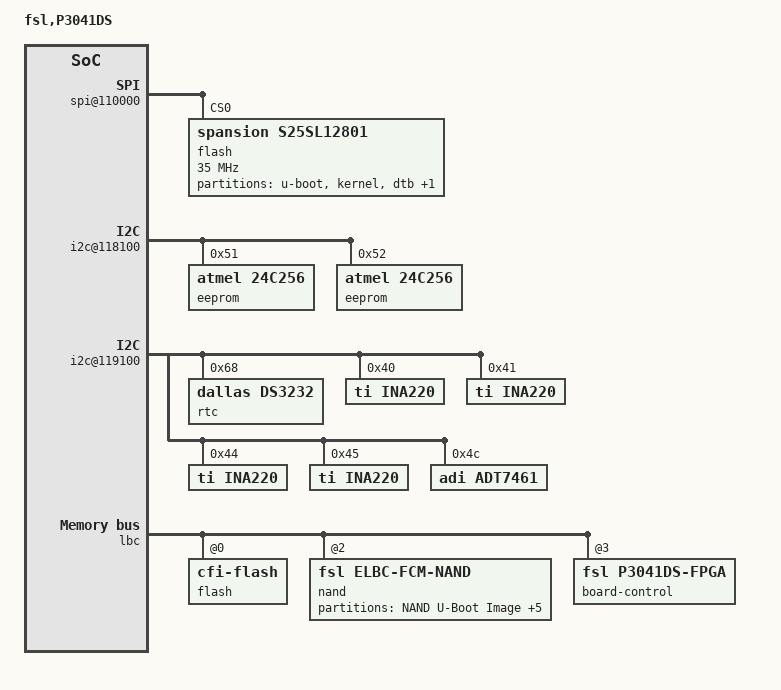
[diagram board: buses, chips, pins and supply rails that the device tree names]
/*
 * P3041DS Device Tree Source
 *
 * Copyright 2010 - 2015 Freescale Semiconductor Inc.
 *
 * Redistribution and use in source and binary forms, with or without
 * modification, are permitted provided that the following conditions are met:
 *     * Redistributions of source code must retain the above copyright
 *       notice, this list of conditions and the following disclaimer.
 *     * Redistributions in binary form must reproduce the above copyright
 *       notice, this list of conditions and the following disclaimer in the
 *       documentation and/or other materials provided with the distribution.
 *     * Neither the name of Freescale Semiconductor nor the
 *       names of its contributors may be used to endorse or promote products
 *       derived from this software without specific prior written permission.
 *
 *
 * ALTERNATIVELY, this software may be distributed under the terms of the
 * GNU General Public License ("GPL") as published by the Free Software
 * Foundation, either version 2 of that License or (at your option) any
 * later version.
 *
 * THIS SOFTWARE IS PROVIDED BY Freescale Semiconductor ``AS IS'' AND ANY
 * EXPRESS OR IMPLIED WARRANTIES, INCLUDING, BUT NOT LIMITED TO, THE IMPLIED
 * WARRANTIES OF MERCHANTABILITY AND FITNESS FOR A PARTICULAR PURPOSE ARE
 * DISCLAIMED. IN NO EVENT SHALL Freescale Semiconductor BE LIABLE FOR ANY
 * DIRECT, INDIRECT, INCIDENTAL, SPECIAL, EXEMPLARY, OR CONSEQUENTIAL DAMAGES
 * (INCLUDING, BUT NOT LIMITED TO, PROCUREMENT OF SUBSTITUTE GOODS OR SERVICES;
 * LOSS OF USE, DATA, OR PROFITS; OR BUSINESS INTERRUPTION) HOWEVER CAUSED AND
 * ON ANY THEORY OF LIABILITY, WHETHER IN CONTRACT, STRICT LIABILITY, OR TORT
 * (INCLUDING NEGLIGENCE OR OTHERWISE) ARISING IN ANY WAY OUT OF THE USE OF THIS
 * SOFTWARE, EVEN IF ADVISED OF THE POSSIBILITY OF SUCH DAMAGE.
 */

/include/ "p3041si-pre.dtsi"

/ {
	model = "fsl,P3041DS";
	compatible = "fsl,P3041DS";
	#address-cells = <2>;
	#size-cells = <2>;
	interrupt-parent = <&mpic>;

	aliases{
		phy_rgmii_0 = &phy_rgmii_0;
		phy_rgmii_1 = &phy_rgmii_1;
		phy_sgmii_1c = &phy_sgmii_1c;
		phy_sgmii_1d = &phy_sgmii_1d;
		phy_sgmii_1e = &phy_sgmii_1e;
		phy_sgmii_1f = &phy_sgmii_1f;
		phy_xgmii_1 = &phy_xgmii_1;
		phy_xgmii_2 = &phy_xgmii_2;
		emi1_rgmii = &hydra_mdio_rgmii;
		emi1_sgmii = &hydra_mdio_sgmii;
		emi2_xgmii = &hydra_mdio_xgmii;
	};

	memory {
		device_type = "memory";
	};

	reserved-memory {
		#address-cells = <2>;
		#size-cells = <2>;
		ranges;

		bman_fbpr: bman-fbpr {
			size = <0 0x1000000>;
			alignment = <0 0x1000000>;
		};
		qman_fqd: qman-fqd {
			size = <0 0x400000>;
			alignment = <0 0x400000>;
		};
		qman_pfdr: qman-pfdr {
			size = <0 0x2000000>;
			alignment = <0 0x2000000>;
		};
	};

	dcsr: dcsr@f00000000 {
		ranges = <0x00000000 0xf 0x00000000 0x01008000>;
	};

	bportals: bman-portals@ff4000000 {
		ranges = <0x0 0xf 0xf4000000 0x200000>;
	};

	qportals: qman-portals@ff4200000 {
		ranges = <0x0 0xf 0xf4200000 0x200000>;
	};

	soc: soc@ffe000000 {
		ranges = <0x00000000 0xf 0xfe000000 0x1000000>;
		reg = <0xf 0xfe000000 0 0x00001000>;
		spi@110000 {
			flash@0 {
				#address-cells = <1>;
				#size-cells = <1>;
				compatible = "spansion,s25sl12801", "jedec,spi-nor";
				reg = <0>;
				spi-max-frequency = <35000000>; /* input clock */
				partition@u-boot {
					label = "u-boot";
					reg = <0x00000000 0x00100000>;
					read-only;
				};
				partition@kernel {
					label = "kernel";
					reg = <0x00100000 0x00500000>;
					read-only;
				};
				partition@dtb {
					label = "dtb";
					reg = <0x00600000 0x00100000>;
					read-only;
				};
				partition@fs {
					label = "file system";
					reg = <0x00700000 0x00900000>;
				};
			};
		};

		i2c@118100 {
			eeprom@51 {
				compatible = "atmel,24c256";
				reg = <0x51>;
			};
			eeprom@52 {
				compatible = "atmel,24c256";
				reg = <0x52>;
			};
		};

		i2c@119100 {
			rtc@68 {
				compatible = "dallas,ds3232";
				reg = <0x68>;
				interrupts = <0x1 0x1 0 0>;
			};
			ina220@40 {
				compatible = "ti,ina220";
				reg = <0x40>;
				shunt-resistor = <1000>;
			};
			ina220@41 {
				compatible = "ti,ina220";
				reg = <0x41>;
				shunt-resistor = <1000>;
			};
			ina220@44 {
				compatible = "ti,ina220";
				reg = <0x44>;
				shunt-resistor = <1000>;
			};
			ina220@45 {
				compatible = "ti,ina220";
				reg = <0x45>;
				shunt-resistor = <1000>;
			};
			adt7461@4c {
				compatible = "adi,adt7461";
				reg = <0x4c>;
			};
		};

		fman@400000{
			ethernet@e0000 {
				phy-handle = <&phy_sgmii_1c>;
				phy-connection-type = "sgmii";
			};

			ethernet@e2000 {
				phy-handle = <&phy_sgmii_1d>;
				phy-connection-type = "sgmii";
			};

			ethernet@e4000 {
				phy-handle = <&phy_sgmii_1e>;
				phy-connection-type = "sgmii";
			};

			ethernet@e6000 {
				phy-handle = <&phy_sgmii_1f>;
				phy-connection-type = "sgmii";
			};

			ethernet@e8000 {
				phy-handle = <&phy_rgmii_1>;
				phy-connection-type = "rgmii";
			};

			ethernet@f0000 {
				phy-handle = <&phy_xgmii_1>;
				phy-connection-type = "xgmii";
			};

			hydra_mdio_xgmii: mdio@f1000 {
				status = "disabled";

				phy_xgmii_1: ethernet-phy@4 {
					compatible = "ethernet-phy-ieee802.3-c45";
					reg = <0x4>;
				};

				phy_xgmii_2: ethernet-phy@0 {
					compatible = "ethernet-phy-ieee802.3-c45";
					reg = <0x0>;
				};
			};
		};
	};

	rio: rapidio@ffe0c0000 {
		reg = <0xf 0xfe0c0000 0 0x11000>;

		port1 {
			ranges = <0 0 0xc 0x20000000 0 0x10000000>;
		};
		port2 {
			ranges = <0 0 0xc 0x30000000 0 0x10000000>;
		};
	};

	lbc: localbus@ffe124000 {
		reg = <0xf 0xfe124000 0 0x1000>;
		ranges = <0 0 0xf 0xe8000000 0x08000000
			  2 0 0xf 0xffa00000 0x00040000
			  3 0 0xf 0xffdf0000 0x00008000>;

		flash@0,0 {
			compatible = "cfi-flash";
			reg = <0 0 0x08000000>;
			bank-width = <2>;
			device-width = <2>;
		};

		nand@2,0 {
			#address-cells = <1>;
			#size-cells = <1>;
			compatible = "fsl,elbc-fcm-nand";
			reg = <0x2 0x0 0x40000>;

			partition@0 {
				label = "NAND U-Boot Image";
				reg = <0x0 0x02000000>;
				read-only;
			};

			partition@2000000 {
				label = "NAND Root File System";
				reg = <0x02000000 0x10000000>;
			};

			partition@12000000 {
				label = "NAND Compressed RFS Image";
				reg = <0x12000000 0x08000000>;
			};

			partition@1a000000 {
				label = "NAND Linux Kernel Image";
				reg = <0x1a000000 0x04000000>;
			};

			partition@1e000000 {
				label = "NAND DTB Image";
				reg = <0x1e000000 0x01000000>;
			};

			partition@1f000000 {
				label = "NAND Writable User area";
				reg = <0x1f000000 0x21000000>;
			};
		};

		board-control@3,0 {
			#address-cells = <1>;
			#size-cells = <1>;
			compatible = "fsl,p3041ds-fpga", "fsl,fpga-ngpixis";
			reg = <3 0 0x30>;
			ranges = <0 3 0 0x30>;

			mdio-mux-emi1 {
				#address-cells = <1>;
				#size-cells = <0>;
				compatible = "mdio-mux-mmioreg", "mdio-mux";
				mdio-parent-bus = <&mdio0>;
				reg = <9 1>;
				mux-mask = <0x78>;

				hydra_mdio_rgmii: rgmii-mdio@8 {
					#address-cells = <1>;
					#size-cells = <0>;
					reg = <8>;
					status = "disabled";

					phy_rgmii_0: ethernet-phy@0 {
						reg = <0x0>;
					};

					phy_rgmii_1: ethernet-phy@1 {
						reg = <0x1>;
					};
				};

				hydra_mdio_sgmii: sgmii-mdio@28 {
					#address-cells = <1>;
					#size-cells = <0>;
					reg = <0x28>;
					status = "disabled";

					phy_sgmii_1c: ethernet-phy@1c {
						reg = <0x1c>;
					};

					phy_sgmii_1d: ethernet-phy@1d {
						reg = <0x1d>;
					};

					phy_sgmii_1e: ethernet-phy@1e {
						reg = <0x1e>;
					};

					phy_sgmii_1f: ethernet-phy@1f {
						reg = <0x1f>;
					};
				};
			};
		};
	};

	pci0: pcie@ffe200000 {
		reg = <0xf 0xfe200000 0 0x1000>;
		ranges = <0x02000000 0 0xe0000000 0xc 0x00000000 0x0 0x20000000
			  0x01000000 0 0x00000000 0xf 0xf8000000 0x0 0x00010000>;
		pcie@0 {
			ranges = <0x02000000 0 0xe0000000
				  0x02000000 0 0xe0000000
				  0 0x20000000

				  0x01000000 0 0x00000000
				  0x01000000 0 0x00000000
				  0 0x00010000>;
		};
	};

	pci1: pcie@ffe201000 {
		reg = <0xf 0xfe201000 0 0x1000>;
		ranges = <0x02000000 0x0 0xe0000000 0xc 0x20000000 0x0 0x20000000
			  0x01000000 0x0 0x00000000 0xf 0xf8010000 0x0 0x00010000>;
		pcie@0 {
			ranges = <0x02000000 0 0xe0000000
				  0x02000000 0 0xe0000000
				  0 0x20000000

				  0x01000000 0 0x00000000
				  0x01000000 0 0x00000000
				  0 0x00010000>;
		};
	};

	pci2: pcie@ffe202000 {
		reg = <0xf 0xfe202000 0 0x1000>;
		ranges = <0x02000000 0 0xe0000000 0xc 0x40000000 0 0x20000000
			  0x01000000 0 0x00000000 0xf 0xf8020000 0 0x00010000>;
		pcie@0 {
			ranges = <0x02000000 0 0xe0000000
				  0x02000000 0 0xe0000000
				  0 0x20000000

				  0x01000000 0 0x00000000
				  0x01000000 0 0x00000000
				  0 0x00010000>;
		};
	};

	pci3: pcie@ffe203000 {
		reg = <0xf 0xfe203000 0 0x1000>;
		ranges = <0x02000000 0 0xe0000000 0xc 0x60000000 0 0x20000000
			  0x01000000 0 0x00000000 0xf 0xf8030000 0 0x00010000>;
		pcie@0 {
			ranges = <0x02000000 0 0xe0000000
				  0x02000000 0 0xe0000000
				  0 0x20000000

				  0x01000000 0 0x00000000
				  0x01000000 0 0x00000000
				  0 0x00010000>;
		};
	};
};

/include/ "p3041si-post.dtsi"
